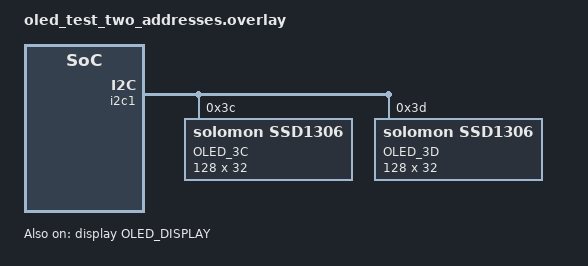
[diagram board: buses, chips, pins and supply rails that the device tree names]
/*
 * Tidbit Rev2 + Nullbits OLED test overlay for ZMK — includes two SSD1306 nodes
 * to test both common I2C addresses (0x3C and 0x3D) on &i2c1.
 *
 * Build once with this overlay and check which node appears in the generated DTS
 * or which one initializes at runtime. After identifying the working address,
 * remove the unused node or update the node label accordingly.
 */

/ {
    chosen {
        zephyr,console = &uart0;
    };
};

&i2c1 {
    status = "okay";

    /* Test node for address 0x3C */
    oled_3c: ssd1306@3c {
        compatible = "solomon,ssd1306";
        reg = <0x3c>;
        label = "OLED_3C";
        width = <128>;
        height = <32>;
        status = "okay";
    };

    /* Test node for address 0x3D */
    oled_3d: ssd1306@3d {
        compatible = "solomon,ssd1306";
        reg = <0x3d>;
        label = "OLED_3D";
        width = <128>;
        height = <32>;
        status = "okay";
    };
};

&display {
    status = "okay";
    label = "OLED_DISPLAY";
}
